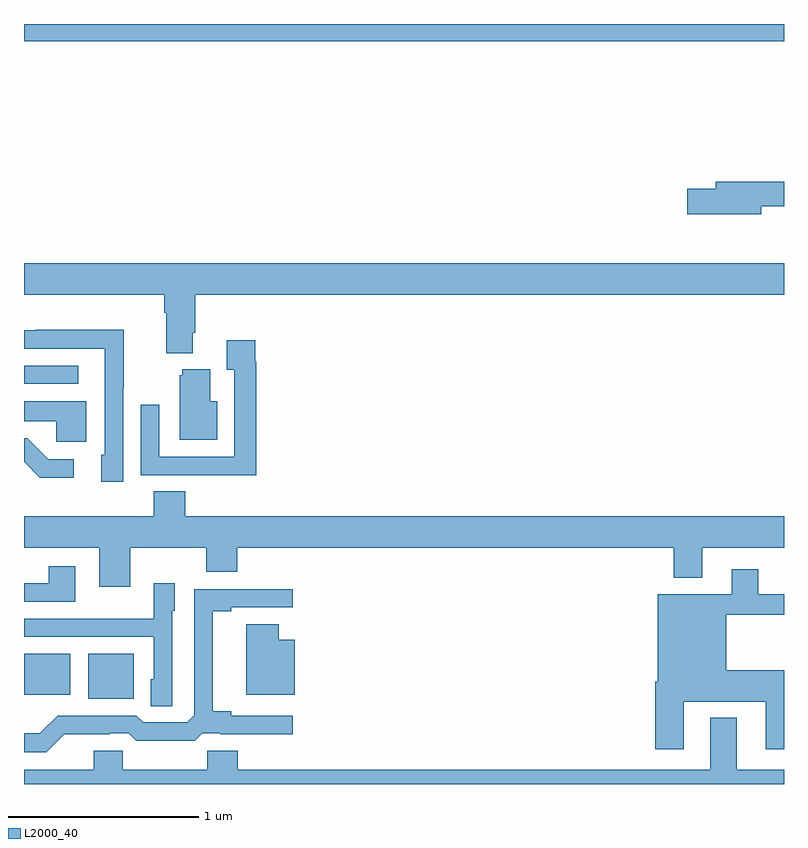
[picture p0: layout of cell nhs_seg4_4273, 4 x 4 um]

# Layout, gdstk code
import gdstk
lib = gdstk.Library(unit=1e-6, precision=1e-09)
def R(c, l, rs):  # rectangles x0, y0, x1, y1
    for r in rs: c.add(gdstk.rectangle(r[:2], r[2:], *l))
def P(c, l, *ps):  # polygons
    for p in ps: c.add(gdstk.Polygon(p, *l))
L2000_40 = (2000, 40)

nhs_seg4_4273 = lib.new_cell('nhs_seg4_4273')
R(nhs_seg4_4273, L2000_40, [(339.338,805.349,339.577,805.585), (339,805.37,339.244,805.585), (339,807.006,339.286,807.102), (339,808.808,343,808.9)])
P(nhs_seg4_4273, L2000_40, [(342.88,807.942),(343,807.942),(343,808.07),(342.641,808.07),(342.641,808.034),(342.492,808.034),(342.492,807.899),(342.88,807.899)],
  [(339.889,807.274),(339.902,807.274),(339.902,807.476),(343,807.476),(343,807.64),(339,807.64),(339,807.476),(339.737,807.476),(339.737,807.38),(339.749,807.38),(339.749,807.167),(339.889,807.167)],
  [(339.522,806.983),(339.525,806.983),(339.525,807.29),(339.061,807.29),(339.061,807.288),(339,807.288),(339,807.192),(339.425,807.192),(339.425,806.953),(339.426,806.953),(339.426,806.634),(339.407,806.634),(339.407,806.49),(339.522,806.49)],
  [(340.223,807.122),(340.216,807.122),(340.216,807.235),(340.067,807.235),(340.067,807.079),(340.107,807.079),(340.107,806.622),(339.711,806.622),(339.711,806.896),(339.615,806.896),(339.615,806.526),(339.931,806.526),(339.931,806.525),(340.223,806.525)],
  [(340.018,806.914),(339.979,806.914),(339.979,807.082),(339.833,807.082),(339.833,807.051),(339.821,807.051),(339.821,806.711),(340.018,806.711)],
  [(339.328,806.914),(339,806.914),(339,806.81),(339.171,806.81),(339.171,806.702),(339.328,806.702)],
  [(339.262,806.61),(339.127,806.61),(339.016,806.721),(339,806.721),(339,806.595),(339.083,806.513),(339.262,806.513)],
  [(339.559,806.144),(339.959,806.144),(339.959,806.016),(340.123,806.016),(340.123,806.144),(342.419,806.144),(342.419,805.985),(342.571,805.985),(342.571,806.144),(343,806.144),(343,806.308),(339.848,806.308),(339.848,806.441),(339.683,806.441),(339.683,806.308),(339,806.308),(339,806.144),(339.395,806.144),(339.395,805.938),(339.559,805.938)],
  [(339.271,806.047),(339.131,806.047),(339.131,805.956),(339,805.956),(339,805.86),(339.271,805.86)],
  [(342.472,805.334),(342.905,805.334),(342.905,805.083),(343,805.083),(343,805.498),(342.697,805.498),(342.697,805.791),(343,805.791),(343,805.899),(342.865,805.899),(342.865,806.029),(342.725,806.029),(342.725,805.9),(342.335,805.9),(342.335,805.438),(342.323,805.438),(342.323,805.083),(342.472,805.083)],
  [(339.78,805.812),(339.793,805.812),(339.793,805.957),(339.684,805.957),(339.684,805.771),(339.367,805.771),(339.367,805.77),(339,805.77),(339,805.674),(339.684,805.674),(339.684,805.452),(339.668,805.452),(339.668,805.309),(339.78,805.309)],
  [(339.212,805.163),(339.452,805.163),(339.452,805.167),(339.552,805.167),(339.592,805.128),(339.899,805.128),(339.939,805.167),(340.033,805.167),(340.033,805.163),(340.414,805.163),(340.414,805.26),(340.09,805.26),(340.09,805.283),(339.994,805.283),(339.994,805.81),(340.09,805.81),(340.09,805.83),(340.414,805.83),(340.414,805.926),(339.897,805.926),(339.897,805.263),(339.858,805.224),(339.627,805.224),(339.591,805.26),(339.177,805.26),(339.083,805.166),(339,805.166),(339,805.068),(339.117,805.068)],
  [(340.426,805.66),(340.34,805.66),(340.34,805.741),(340.169,805.741),(340.169,805.37),(340.426,805.37)],
  [(343,804.976),(342.751,804.976),(342.751,805.249),(342.611,805.249),(342.611,804.976),(340.124,804.976),(340.124,805.074),(339.964,805.074),(339.964,804.976),(339.519,804.976),(339.519,805.074),(339.368,805.074),(339.368,804.976),(339,804.976),(339,804.9),(343,804.9)])

lib.write_gds('nhs_seg4_4273.gds')
